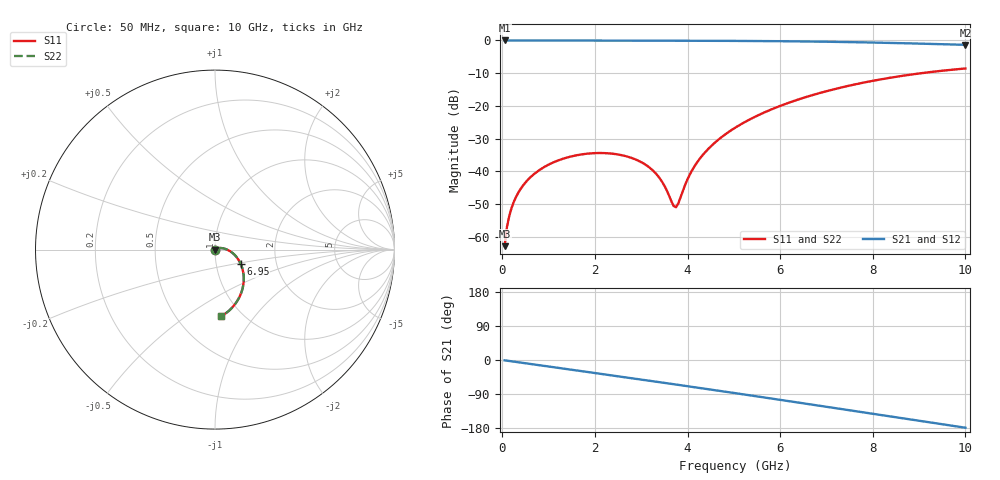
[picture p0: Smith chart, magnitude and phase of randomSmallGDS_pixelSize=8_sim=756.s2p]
! freq	dB(S11)	phase(S11)	dB(S12)	phase(S12)
!  dB(S21)	phase(S21)	dB(S22)	phase(S22)
!S-par simulation data
#  GHz  S  DB  R 50
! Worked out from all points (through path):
!   200 points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, 50 MHz to 10 GHz, reference 50 ohm
!   highest |S21| = 0.00 dB at 50 MHz (marker M1); lowest = -1.3 dB at 10 GHz (marker M2)
!   group delay of S21, straight-line fit = 49.8 ps
!   lowest |S11| = -62.8 dB at 50 MHz (marker M3), VSWR 1.00, Z = 50 - j0.072 ohm
!   |S11| at or under -10 dB: start of sweep to 9.048 GHz
!   |S22| runs from -62.9 to -8.6 dB; largest |S21 - S12| = 0
!   S11 on the Smith chart (normalised r, x): 50 MHz: 1.00, -0.00; 6.95 GHz: 1.31, -0.22; 10 GHz: 0.81, -0.69
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0.05  -62.85 -90.9  -0.00 -0.9  -0.00 -0.9  -62.86 -90.6
0.1  -57.05 -92.7  -0.00 -1.7  -0.00 -1.7  -57.04 -92.5
0.2  -51.17 -94.4  -0.00 -3.5  -0.00 -3.5  -51.16 -94.3
0.35  -46.40 -96.9  -0.01 -6.1  -0.01 -6.1  -46.40 -96.9
0.5  -43.40 -99.6  -0.01 -8.6  -0.01 -8.6  -43.40 -99.6
1.05  -37.59 -109.8  -0.02 -18.1  -0.02 -18.1  -37.59 -109.8
1.75  -34.74 -123.0  -0.03 -30.1  -0.03 -30.1  -34.74 -123.0
2.3  -34.49 -133.8  -0.04 -39.5  -0.04 -39.5  -34.49 -133.9
2.75  -35.69 -143.6  -0.05 -47.3  -0.05 -47.3  -35.69 -143.8
3.1  -38.02 -153.2  -0.06 -53.4  -0.06 -53.4  -38.02 -153.4
3.4  -42.11 -166.8  -0.07 -58.6  -0.07 -58.6  -42.10 -167.2
3.7  -50.55 136.8  -0.08 -63.9  -0.08 -63.9  -50.37 136.2
3.75  -50.97 111.8  -0.08 -64.7  -0.08 -64.7  -50.75 111.8
4.05  -40.94 40.9  -0.09 -70.0  -0.09 -70.0  -40.90 41.4
4.25  -36.39 29.7  -0.10 -73.6  -0.10 -73.6  -36.38 30.0
4.6  -31.10 18.5  -0.11 -79.8  -0.11 -79.8  -31.09 18.7
5.05  -26.47 7.9  -0.14 -87.8  -0.14 -87.8  -26.46 8.1
5.8  -21.13 -7.3  -0.20 -101.4  -0.20 -101.4  -21.13 -7.2
6.7  -16.68 -24.5  -0.33 -118.0  -0.33 -118.0  -16.68 -24.4
6.95  -15.69 -29.2  -0.38 -122.6  -0.38 -122.6  -15.69 -29.1
8.35  -11.46 -55.2  -0.74 -148.6  -0.74 -148.6  -11.45 -55.1
10  -8.57 -84.6  -1.34 -178.7  -1.34 -178.7  -8.57 -84.5
